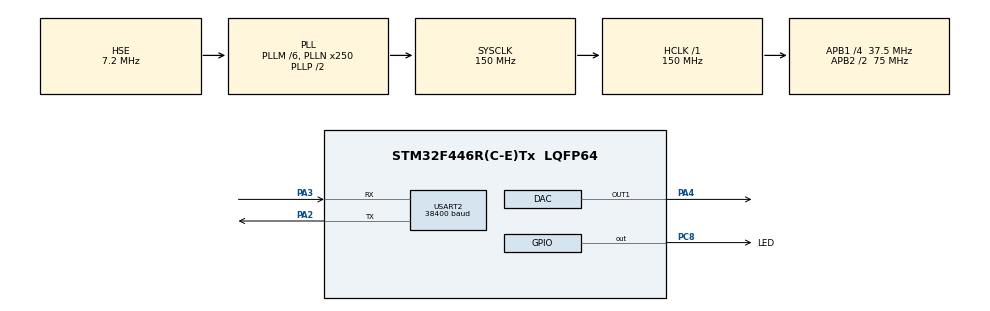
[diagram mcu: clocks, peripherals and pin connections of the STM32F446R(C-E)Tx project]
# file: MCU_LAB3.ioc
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DAC.DAC_Trigger=DAC_TRIGGER_NONE
Mcu.Family=STM32F4
Mcu.Name=STM32F446R(C-E)Tx
Mcu.Package=LQFP64
NVIC.PriorityGroup=NVIC_PRIORITYGROUP_4
NVIC.TIM1_BRK_TIM9_IRQn=true\:0\:0\:false\:false\:true\:true\:true\:true
NVIC.TIM1_CC_IRQn=true\:0\:0\:false\:false\:true\:true\:true\:true
NVIC.TIM1_TRG_COM_TIM11_IRQn=true\:0\:0\:false\:false\:true\:true\:true\:true
NVIC.TIM1_UP_TIM10_IRQn=true\:0\:0\:false\:false\:true\:true\:true\:true
NVIC.TIM6_DAC_IRQn=true\:0\:0\:false\:false\:true\:true\:true\:true
NVIC.USART2_IRQn=true\:0\:0\:false\:false\:true\:true\:true\:true
PA2.Mode=Asynchronous
PA2.Signal=USART2_TX
PA3.Mode=Asynchronous
PA3.Signal=USART2_RX
PA4.Signal=COMP_DAC1_group
PC8.GPIO_Label=LED
PC8.Signal=GPIO_Output
PH0-OSC_IN.Mode=HSE-External-Oscillator
PH0-OSC_IN.Signal=RCC_OSC_IN
PH1-OSC_OUT.Mode=HSE-External-Oscillator
PH1-OSC_OUT.Signal=RCC_OSC_OUT
ProjectManager.HeapSize=0x200
ProjectManager.StackSize=0x400
ProjectManager.TargetToolchain=STM32CubeIDE
RCC.AHBFreq_Value=150000000
RCC.APB1CLKDivider=RCC_HCLK_DIV4
RCC.APB1Freq_Value=37500000
RCC.APB1TimFreq_Value=75000000
RCC.APB2CLKDivider=RCC_HCLK_DIV2
RCC.APB2Freq_Value=75000000
RCC.APB2TimFreq_Value=150000000
RCC.CortexFreq_Value=150000000
RCC.HCLKFreq_Value=150000000
RCC.HSE_VALUE=7200000
RCC.PLLM=6
RCC.PLLN=250
RCC.PLLSourceVirtual=RCC_PLLSOURCE_HSE
RCC.SYSCLKFreq_VALUE=150000000
RCC.SYSCLKSource=RCC_SYSCLKSOURCE_PLLCLK
RCC.USBFreq_Value=150000000
RCC.VCOOutputFreq_Value=300000000
SH.COMP_DAC1_group.0=DAC_OUT1,DAC_OUT1
TIM1.Period=250 - 1
TIM1.Prescaler=150-1
USART2.BaudRate=38400
USART2.VirtualMode=VM_ASYNC
VP_TIM1_VS_ClockSourceINT.Mode=Internal
board=custom

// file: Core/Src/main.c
/* USER CODE BEGIN Header */
/**
  ******************************************************************************
  * @file           : main.c
  * @brief          : Main program body
  ******************************************************************************
  * @attention
  *
  * Copyright (c) 2024 STMicroelectronics.
  * All rights reserved.
  *
  * This software is licensed under terms that can be found in the LICENSE file
  * in the root directory of this software component.
  * If no LICENSE file comes with this software, it is provided AS-IS.
  *
  ******************************************************************************
  */
/* USER CODE END Header */
#include "main.h"

/* USER CODE BEGIN Includes */
#include <math.h>
#include <stdio.h>
#include <stdbool.h>
#include <string.h>
/* USER CODE END Includes */

DAC_HandleTypeDef hdac;

TIM_HandleTypeDef htim1;

UART_HandleTypeDef huart2;

void SystemClock_Config(void);
static void MX_GPIO_Init(void);
static void MX_DAC_Init(void);
static void MX_TIM1_Init(void);
static void MX_USART2_UART_Init(void);

/* USER CODE BEGIN 0 */
//per second we need points*freq interrupts --> Hz

int num = 0;
float time = 0;
uint32_t ns = 4000;
float dt = 1.0 / 4000.0; // 4000 points

bool cmd_executed = false;

char rx_buffer[50];
char tx_buffer[50];

float received_numbers[2];
int numbers_received = 0;

uint32_t w = 0;
float omega = 1.0;

float phi = -3.14 / 2.0;
float ampl = 1;
float freq = 10.0; // in Hz, should be the same as timer clock

// ns = number samples || ns = 10 - bad || ns = 255 - good
// dont use, dt + timer freq need to down

uint32_t wave(float t) {
	float v_ref = 3.3;
	omega = 2.0 * 3.14 * freq;
	float res = (1 +  sinf( omega * t) ) / 2;
	return (uint32_t) (res * ampl *(4095/(v_ref)));
//	TIM1->ARR =
}

/* USER CODE END 0 */

int main(void)
{

  /* MCU Configuration--------------------------------------------------------*/

  /* Reset of all peripherals, Initializes the Flash interface and the Systick. */
  HAL_Init();

  /* Configure the system clock */
  SystemClock_Config();

  /* Initialize all configured peripherals */
  MX_GPIO_Init();
  MX_DAC_Init();
  MX_TIM1_Init();
  MX_USART2_UART_Init();
  /* USER CODE BEGIN 2 */

//  HAL_TIM_Base_Start_IT(&htim6);
  HAL_TIM_Base_Start_IT(&htim1);
  HAL_DAC_Start(&hdac, DAC_CHANNEL_1);

  HAL_UARTEx_ReceiveToIdle_IT(&huart2, (uint8_t*)rx_buffer, 10);

  /*
   * COMMANDS FOR SETUP SIN via UART
   * AMPL FREQ
   * 2.5_5.2
   * FLOAT-SPACE-FLOAT
   * FLOAT -> .2f
   * */
//  HAL_UART_Receive_IT(&huart2, (uint8_t*)rx_buffer, sizeof(rx_buffer) - 1);
//  snprintf(tx_buffer, sizeof(tx_buffer), "Enter Amplitude\n");
//  HAL_UART_Transmit_IT(&huart2, (uint8_t*)tx_buffer, strlen(tx_buffer));
  /* USER CODE END 2 */

  /* Infinite loop */
  while (1)
  {

  }
}

void SystemClock_Config(void)
{
  RCC_OscInitTypeDef RCC_OscInitStruct = {0};
  RCC_ClkInitTypeDef RCC_ClkInitStruct = {0};

  /** Configure the main internal regulator output voltage
  */
  __HAL_RCC_PWR_CLK_ENABLE();
  __HAL_PWR_VOLTAGESCALING_CONFIG(PWR_REGULATOR_VOLTAGE_SCALE1);

  /** Initializes the RCC Oscillators according to the specified parameters
  * in the RCC_OscInitTypeDef structure.
  */
  RCC_OscInitStruct.OscillatorType = RCC_OSCILLATORTYPE_HSE;
  RCC_OscInitStruct.HSEState = RCC_HSE_ON;
  RCC_OscInitStruct.PLL.PLLState = RCC_PLL_ON;
  RCC_OscInitStruct.PLL.PLLSource = RCC_PLLSOURCE_HSE;
  RCC_OscInitStruct.PLL.PLLM = 6;
  RCC_OscInitStruct.PLL.PLLN = 250;
  RCC_OscInitStruct.PLL.PLLP = RCC_PLLP_DIV2;
  RCC_OscInitStruct.PLL.PLLQ = 2;
  RCC_OscInitStruct.PLL.PLLR = 2;
  if (HAL_RCC_OscConfig(&RCC_OscInitStruct) != HAL_OK)
  {
    Error_Handler();
  }

  /** Initializes the CPU, AHB and APB buses clocks
  */
  RCC_ClkInitStruct.ClockType = RCC_CLOCKTYPE_HCLK|RCC_CLOCKTYPE_SYSCLK
                              |RCC_CLOCKTYPE_PCLK1|RCC_CLOCKTYPE_PCLK2;
  RCC_ClkInitStruct.SYSCLKSource = RCC_SYSCLKSOURCE_PLLCLK;
  RCC_ClkInitStruct.AHBCLKDivider = RCC_SYSCLK_DIV1;
  RCC_ClkInitStruct.APB1CLKDivider = RCC_HCLK_DIV4;
  RCC_ClkInitStruct.APB2CLKDivider = RCC_HCLK_DIV2;

  if (HAL_RCC_ClockConfig(&RCC_ClkInitStruct, FLASH_LATENCY_4) != HAL_OK)
  {
    Error_Handler();
  }
}

static void MX_DAC_Init(void)
{

  DAC_ChannelConfTypeDef sConfig = {0};

  /** DAC Initialization
  */
  hdac.Instance = DAC;
  if (HAL_DAC_Init(&hdac) != HAL_OK)
  {
    Error_Handler();
  }

  /** DAC channel OUT1 config
  */
  sConfig.DAC_Trigger = DAC_TRIGGER_NONE;
  sConfig.DAC_OutputBuffer = DAC_OUTPUTBUFFER_ENABLE;
  if (HAL_DAC_ConfigChannel(&hdac, &sConfig, DAC_CHANNEL_1) != HAL_OK)
  {
    Error_Handler();
  }

}

static void MX_TIM1_Init(void)
{

  TIM_ClockConfigTypeDef sClockSourceConfig = {0};
  TIM_MasterConfigTypeDef sMasterConfig = {0};

  htim1.Instance = TIM1;
  htim1.Init.Prescaler = 150-1;
  htim1.Init.CounterMode = TIM_COUNTERMODE_UP;
  htim1.Init.Period = 250 - 1;
  htim1.Init.ClockDivision = TIM_CLOCKDIVISION_DIV1;
  htim1.Init.RepetitionCounter = 0;
  htim1.Init.AutoReloadPreload = TIM_AUTORELOAD_PRELOAD_DISABLE;
  if (HAL_TIM_Base_Init(&htim1) != HAL_OK)
  {
    Error_Handler();
  }
  sClockSourceConfig.ClockSource = TIM_CLOCKSOURCE_INTERNAL;
  if (HAL_TIM_ConfigClockSource(&htim1, &sClockSourceConfig) != HAL_OK)
  {
    Error_Handler();
  }
  sMasterConfig.MasterOutputTrigger = TIM_TRGO_RESET;
  sMasterConfig.MasterSlaveMode = TIM_MASTERSLAVEMODE_DISABLE;
  if (HAL_TIMEx_MasterConfigSynchronization(&htim1, &sMasterConfig) != HAL_OK)
  {
    Error_Handler();
  }

}

static void MX_USART2_UART_Init(void)
{

  huart2.Instance = USART2;
  huart2.Init.BaudRate = 38400;
  huart2.Init.WordLength = UART_WORDLENGTH_8B;
  huart2.Init.StopBits = UART_STOPBITS_1;
  huart2.Init.Parity = UART_PARITY_NONE;
  huart2.Init.Mode = UART_MODE_TX_RX;
  huart2.Init.HwFlowCtl = UART_HWCONTROL_NONE;
  huart2.Init.OverSampling = UART_OVERSAMPLING_16;
  if (HAL_UART_Init(&huart2) != HAL_OK)
  {
    Error_Handler();
  }

}

static void MX_GPIO_Init(void)
{
  GPIO_InitTypeDef GPIO_InitStruct = {0};

  /* GPIO Ports Clock Enable */
  __HAL_RCC_GPIOH_CLK_ENABLE();
  __HAL_RCC_GPIOA_CLK_ENABLE();
  __HAL_RCC_GPIOC_CLK_ENABLE();

  /*Configure GPIO pin Output Level */
  HAL_GPIO_WritePin(LED_GPIO_Port, LED_Pin, GPIO_PIN_RESET);

  /*Configure GPIO pin : LED_Pin */
  GPIO_InitStruct.Pin = LED_Pin;
  GPIO_InitStruct.Mode = GPIO_MODE_OUTPUT_PP;
  GPIO_InitStruct.Pull = GPIO_NOPULL;
  GPIO_InitStruct.Speed = GPIO_SPEED_FREQ_LOW;
  HAL_GPIO_Init(LED_GPIO_Port, &GPIO_InitStruct);

}

/* USER CODE BEGIN 4 */
void HAL_TIM_PeriodElapsedCallback(TIM_HandleTypeDef *htim){
	if (htim == &htim1){
		if(htim->Instance == TIM1){
			time += dt;
			w = wave(time);
			HAL_DAC_SetValue(&hdac, DAC_CHANNEL_1, DAC_ALIGN_12B_R, w);
			HAL_GPIO_TogglePin(LED_GPIO_Port, LED_Pin);

		}
	}
}

void HAL_UARTEx_RxEventCallback(UART_HandleTypeDef *huart, uint16_t Size){
	int number;
    if ( sscanf(rx_buffer, "%d", &number) == 1) {
    	 float number2 = number / 100.0f;
    	 if (numbers_received == 0) {
    	            	ampl = number2;
    	            	numbers_received++;
    	            }
    	 else if(numbers_received == 1) {
    	            	freq = number2;
    	            	numbers_received = 0;

    	            	uint32_t APB2_freq = HAL_RCC_GetPCLK2Freq()*2;

    	            	// не вывозит?
//    	            	__HAL_TIM_SET_AUTORELOAD(&htim1, (uint32_t)  ( 1000000 / (freq*ns)  - 1 ) );
//    	            	__HAL_TIM_SET_PRESCALER(&htim1, (uint32_t) ( APB2_freq/ 1000000 ) - 1);
//    	            	TIM1->PSC = (uint32_t) ( APB2_freq/ 1000000 ) - 1;
//    	            	TIM1->ARR = (uint32_t) (1000000/ (freq*ns)) - 1 ;

    	            }

    }

    HAL_UARTEx_ReceiveToIdle_IT(&huart2, (uint8_t*)rx_buffer, 10);
    memset(rx_buffer, 0, sizeof(rx_buffer));
}
//void HAL_UART_RxCpltCallback(UART_HandleTypeDef *huart) {
//		int number;
//        if ( sscanf(rx_buffer, "%d", &number) == 1) {
//        	 float number2 = number / 100.0f;
//        	 if (numbers_received == 0) {
//        	            	ampl = number2;
//        	            	numbers_received++;
//        	            }
//        	 else if(numbers_received == 1) {
//        	            	freq = number2;
//        	            	numbers_received = 0;
//        	            }
//        }
//        HAL_UART_Receive_IT(&huart2, (uint8_t*)rx_buffer, sizeof(rx_buffer) - 1);
////        memset(rx_buffer, 0, sizeof(rx_buffer));
//  }
/* USER CODE END 4 */

void Error_Handler(void)
{
  __disable_irq();
  while (1)
  {
  }
}
